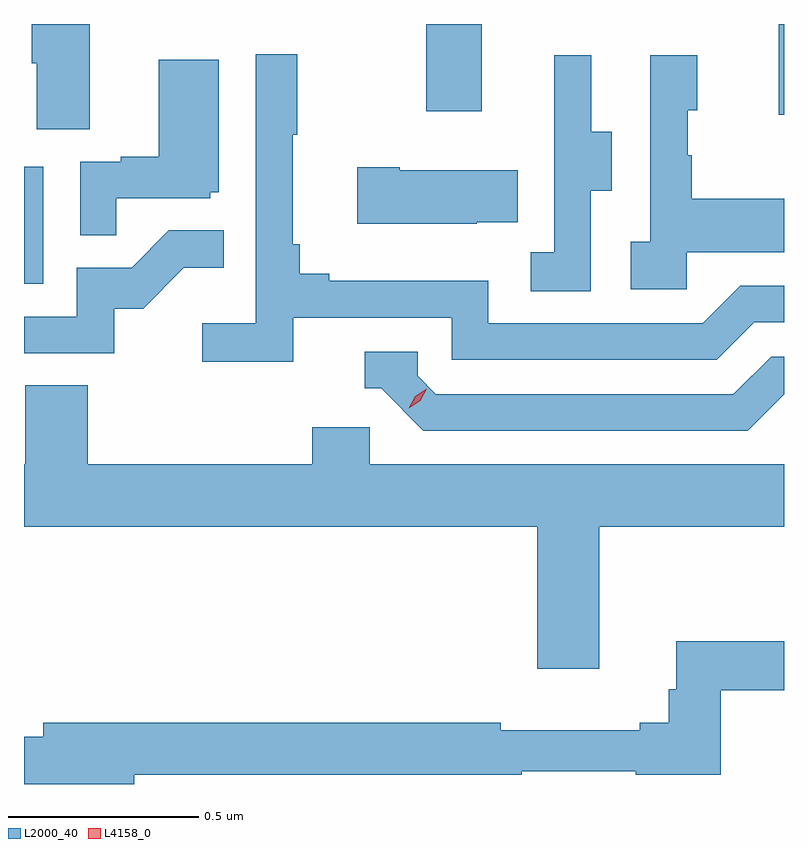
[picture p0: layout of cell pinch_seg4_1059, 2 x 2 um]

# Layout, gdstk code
import gdstk
lib = gdstk.Library(unit=1e-6, precision=1e-09)
def R(c, l, rs):  # rectangles x0, y0, x1, y1
    for r in rs: c.add(gdstk.rectangle(r[:2], r[2:], *l))
def P(c, l, *ps):  # polygons
    for p in ps: c.add(gdstk.Polygon(p, *l))
L2000_40 = (2000, 40)
L4158_0 = (4158, 0)

pinch_seg4_1059 = lib.new_cell('pinch_seg4_1059')
R(pinch_seg4_1059, L2000_40, [(799.022,768.156,799.072,768.463), (801.008,768.6,801.022,768.839), (800.08,768.609,800.227,768.839)])
P(pinch_seg4_1059, L2000_40, [(799.195,768.839),(799.043,768.839),(799.043,768.736),(799.055,768.736),(799.055,768.562),(799.195,768.562)],
  [(799.73,768.066),(800.148,768.066),(800.148,767.955),(800.845,767.955),(800.944,768.054),(801.022,768.054),(801.022,768.15),(800.907,768.15),(800.808,768.051),(800.244,768.051),(800.244,768.163),(799.825,768.163),(799.825,768.182),(799.748,768.182),(799.748,768.259),(799.729,768.259),(799.729,768.547),(799.741,768.547),(799.741,768.76),(799.632,768.76),(799.632,768.052),(799.491,768.052),(799.491,767.95),(799.73,767.95)],
  [(800.766,768.239),(801.022,768.239),(801.022,768.379),(800.779,768.379),(800.779,768.494),(800.769,768.494),(800.769,768.612),(800.794,768.612),(800.794,768.757),(800.67,768.757),(800.67,768.266),(800.619,768.266),(800.619,768.141),(800.766,768.141)],
  [(800.514,768.4),(800.569,768.4),(800.569,768.555),(800.515,768.555),(800.515,768.757),(800.417,768.757),(800.417,768.543),(800.418,768.543),(800.418,768.239),(800.355,768.239),(800.355,768.136),(800.514,768.136)],
  [(799.265,768.381),(799.512,768.381),(799.512,768.396),(799.534,768.396),(799.534,768.745),(799.376,768.745),(799.376,768.49),(799.277,768.49),(799.277,768.477),(799.17,768.477),(799.17,768.283),(799.265,768.283)],
  [(800.213,768.317),(800.321,768.317),(800.321,768.454),(800.011,768.454),(800.011,768.462),(799.899,768.462),(799.899,768.314),(800.213,768.314)],
  [(799.26,768.09),(799.336,768.09),(799.443,768.197),(799.547,768.197),(799.547,768.296),(799.403,768.296),(799.305,768.198),(799.161,768.198),(799.161,768.069),(799.022,768.069),(799.022,767.973),(799.26,767.973)],
  [(801.022,767.865),(801.022,767.964),(800.988,767.964),(800.889,767.865),(800.106,767.865),(800.058,767.913),(800.058,767.976),(799.919,767.976),(799.919,767.88),(799.962,767.88),(800.073,767.769),(800.926,767.769)],
  [(800.536,767.516),(801.022,767.516),(801.022,767.68),(799.932,767.68),(799.932,767.778),(799.781,767.778),(799.781,767.68),(799.19,767.68),(799.19,767.888),(799.025,767.888),(799.025,767.68),(799.022,767.68),(799.022,767.516),(800.372,767.516),(800.372,767.142),(800.536,767.142)],
  [(799.312,766.864),(800.332,766.864),(800.332,766.872),(800.632,766.872),(800.632,766.864),(800.855,766.864),(800.855,767.086),(801.022,767.086),(801.022,767.215),(800.738,767.215),(800.738,767.088),(800.719,767.088),(800.719,767),(800.642,767),(800.642,766.981),(800.276,766.981),(800.276,767),(799.073,767),(799.073,766.964),(799.022,766.964),(799.022,766.839),(799.312,766.839)])
P(pinch_seg4_1059, L4158_0, [(800.034,767.828),(800.034,767.828),(800.051,767.86),(800.082,767.879),(800.082,767.879),(800.082,767.879),(800.065,767.847),(800.034,767.828)])

lib.write_gds('pinch_seg4_1059.gds')
